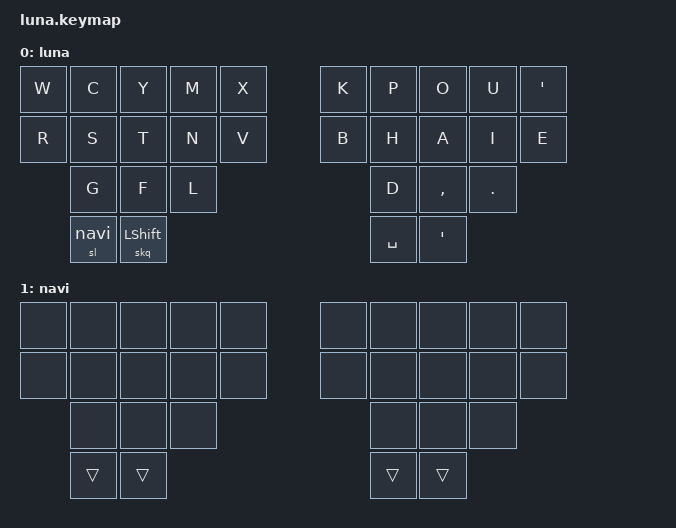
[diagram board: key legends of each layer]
/*
 * Copyright (c) 2020 The ZMK Contributors
 *
 * SPDX-License-Identifier: MIT
 */

#include <behaviors.dtsi>
#include <dt-bindings/zmk/keys.h>
#include <dt-bindings/zmk/bt.h>

#define luna 0
#define navi 1

/ {
    combos {
        #include "combos.dtsi"
    };
    
    behaviors {
        skq: sticky_key_quick_release {
            compatible = "zmk,behavior-sticky-key";
            label = "STICKY_KEY_QUICK_RELEASE";
            #binding-cells = <1>;
            bindings = <&kp>;
            quick-release;
            release-after-ms = <1000>;
        };
    };

    keymap {
        compatible = "zmk,keymap";
                
        luna_layer {
            label = "luna";
            bindings = <
                &kp W &kp C &kp Y &kp M &kp X        &kp K &kp P &kp O     &kp U    &kp SQT 
                &kp R &kp S &kp T &kp N &kp V        &kp B &kp H &kp A     &kp I    &kp E
                      &kp G &kp F &kp L                    &kp D &kp COMMA &kp DOT
                        &sl navi &skq LSHFT                 &kp SPACE &kp SQT  
            >;
        };       
                 
        navi_layer {
            label = "navi";
            bindings = <
                &none &none &none &none &none	    &none &none &none &none &none
                &none &none &none &none &none	    &none &none &none &none &none
                      &none &none &none 	    	  &none &none &none
                        &trans &trans                    &trans &trans  
            >;
        };
    };
};
